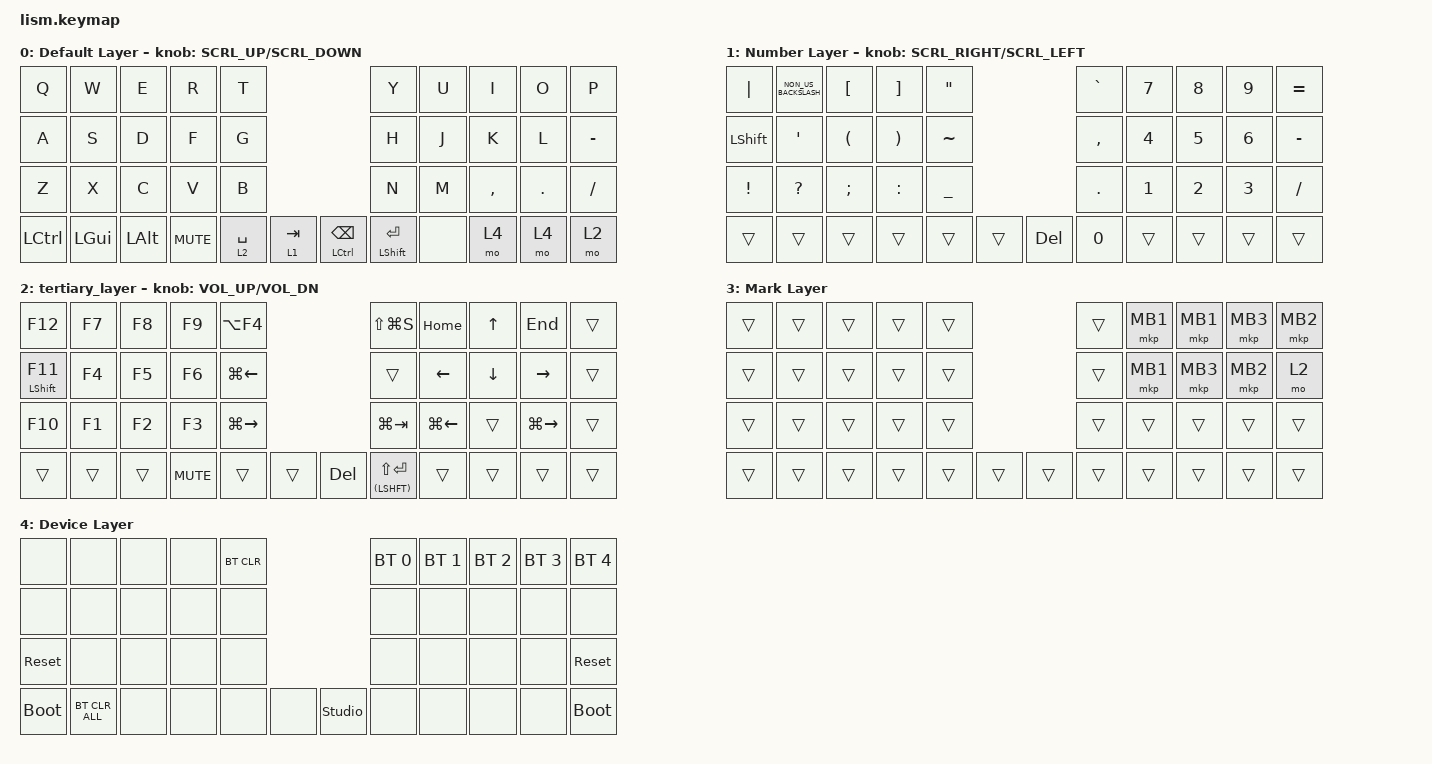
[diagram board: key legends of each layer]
#define ZMK_POINTING_DEFAULT_SCRL_VAL 200

#include <dt-bindings/zmk/mouse.h>
#include <behaviors.dtsi>
#include <dt-bindings/zmk/bt.h>
#include <dt-bindings/zmk/keys.h>
#include <dt-bindings/zmk/pointing.h>

&mt {
    tapping-term-ms = <170>;
    flavor = "balanced";
};

&lt { quick-tap-ms = <170>; };

/ {
    macros {
        emoji: emoji_macro {
            compatible = "zmk,behavior-macro";
            label = "EMOJI";
            #binding-cells = <0>;
            bindings =
                <&macro_press>,
                <&kp CAPSLOCK>,
                <&macro_tap>,
                <&kp E>,
                <&macro_release>,
                <&kp CAPSLOCK>;
        };
    };

    behaviors {
        encoder_msc: sensor_rotate_msc {
            compatible = "zmk,behavior-sensor-rotate-var";
            #sensor-binding-cells = <2>;
            bindings = <&msc>, <&msc>;

            tap-ms = <20>;
        };

        encoder_kp: sensor_rotate_kp {
            compatible = "zmk,behavior-sensor-rotate-var";
            #sensor-binding-cells = <2>;
            bindings = <&kp>, <&kp>;
        };
    };

    combos {
        compatible = "zmk,combos";

        esc {
            bindings = <&kp ESCAPE>;
            key-positions = <0 1>;
        };

        mb1 {
            bindings = <&mkp MB1>;
            key-positions = <6 7>;
        };

        mb2 {
            bindings = <&mkp MB2>;
            key-positions = <7 8>;
        };

        mb3 {
            bindings = <&mkp MB3>;
            key-positions = <6 7 8>;
        };

        mouse {
            bindings = <&tog 3>;
            key-positions = <5 6 7>;
        };

        lang1 {
            bindings = <&kp LANG1>;
            key-positions = <13 12>;
        };

        lang2 {
            bindings = <&kp LANG2>;
            key-positions = <16 17>;
        };
    };

    keymap {
        compatible = "zmk,keymap";

        default_layer {
            display-name = "Default Layer";
            bindings = <
&kp Q      &kp W     &kp E         &kp R       &kp T                                                 &kp Y             &kp U  &kp I      &kp O    &kp P
&kp A      &kp S     &kp D         &kp F       &kp G                                                 &kp H             &kp J  &kp K      &kp L    &kp MINUS
&kp Z      &kp X     &kp C         &kp V       &kp B                                                 &kp N             &kp M  &kp COMMA  &kp DOT  &kp SLASH
&kp LCTRL  &kp LGUI  &kp LEFT_ALT  &kp C_MUTE  &lt 2 SPACE  &lt 1 TAB    &mt LEFT_CONTROL BACKSPACE  &mt LSHIFT ENTER  &none  &mo 4      &mo 4    &mo 2
            >;

            sensor-bindings = <&encoder_msc SCRL_UP SCRL_DOWN>;
        };

        layer_1 {
            display-name = "Number Layer";
            bindings = <
&kp PIPE         &kp NON_US_BACKSLASH  &kp LEFT_BRACKET      &kp RIGHT_BRACKET      &kp DOUBLE_QUOTES                     &kp GRAVE     &kp NUMBER_7  &kp NUMBER_8  &kp NUMBER_9  &kp EQUAL
&kp LSHIFT       &kp SQT               &kp LEFT_PARENTHESIS  &kp RIGHT_PARENTHESIS  &kp TILDE                             &kp COMMA     &kp NUMBER_4  &kp NUMBER_5  &kp NUMBER_6  &kp MINUS
&kp EXCLAMATION  &kp QUESTION          &kp SEMICOLON         &kp COLON              &kp UNDERSCORE                        &kp PERIOD    &kp NUMBER_1  &kp NUMBER_2  &kp NUMBER_3  &kp SLASH
&trans           &trans                &trans                &trans                 &trans             &trans    &kp DEL  &kp NUMBER_0  &trans        &trans        &trans        &trans
            >;

            sensor-bindings = <&encoder_msc SCRL_RIGHT SCRL_LEFT>;
        };

        layer_2 {
            display-name = "tertiary_layer";
            bindings = <
&kp F12         &kp F7  &kp F8  &kp F9      &kp LA(F4)                           &kp LS(LG(S))          &kp HOME            &kp UP_ARROW    &kp END              &trans
&mt LSHIFT F11  &kp F4  &kp F5  &kp F6      &kp LG(LEFT)                         &trans                 &kp LEFT            &kp DOWN_ARROW  &kp RIGHT            &trans
&kp F10         &kp F1  &kp F2  &kp F3      &kp LG(RIGHT)                        &kp LG(TAB)            &kp LG(LEFT_ARROW)  &trans          &kp LG(RIGHT_ARROW)  &trans
&trans          &trans  &trans  &kp C_MUTE  &trans         &trans    &kp DELETE  &mt (LSHFT) LS(ENTER)  &trans              &trans          &trans               &trans
            >;

            sensor-bindings = <&encoder_kp C_VOL_UP C_VOL_DN>;
        };

        layer_3 {
            display-name = "Mark Layer";
            bindings = <
&trans  &trans  &trans  &trans  &trans                    &trans  &mkp MB1  &mkp MB1  &mkp MB3  &mkp MB2
&trans  &trans  &trans  &trans  &trans                    &trans  &mkp MB1  &mkp MB3  &mkp MB2  &mo 2
&trans  &trans  &trans  &trans  &trans                    &trans  &trans    &trans    &trans    &trans
&trans  &trans  &trans  &trans  &trans  &trans    &trans  &trans  &trans    &trans    &trans    &trans
            >;
        };

        layer_4 {
            display-name = "Device Layer";
            bindings = <
&none        &none           &none  &none  &bt BT_CLR                           &bt BT_SEL 0  &bt BT_SEL 1  &bt BT_SEL 2  &bt BT_SEL 3  &bt BT_SEL 4
&none        &none           &none  &none  &none                                &none         &none         &none         &none         &none
&sys_reset   &none           &none  &none  &none                                &none         &none         &none         &none         &sys_reset
&bootloader  &bt BT_CLR_ALL  &none  &none  &none       &none    &studio_unlock  &none         &none         &none         &none         &bootloader
            >;
        };

        layer_5 {
            status = "reserved";
            display-name = "Brank Layer";
            bindings = <
&trans  &trans  &trans  &trans  &trans                           &none      &mkp MB1  &mkp MB1  &mkp MB3  &mkp MB2
&trans  &trans  &trans  &trans  &trans                           &none      &mkp MB1  &mkp MB3  &mkp MB2  &mo 2
&trans  &trans  &trans  &trans  &trans                           &none      &none     &none     &none     &mo 2
&trans  &trans  &trans  &trans  &trans  &trans    &kp BACKSPACE  &kp ENTER  &none     &none     &none     &mo 2
            >;
        };

        layer_6 {
            status = "reserved";
            display-name = "Brank Layer";
            bindings = <
&trans  &trans  &trans  &trans  &trans                    &trans  &trans  &trans  &trans  &trans
&trans  &trans  &trans  &trans  &trans                    &trans  &trans  &trans  &trans  &trans
&trans  &trans  &trans  &trans  &trans                    &trans  &trans  &trans  &trans  &trans
&trans  &trans  &trans  &trans  &trans  &trans    &trans  &trans  &trans  &trans  &trans  &trans
            >;
        };

        layer_7 {
            status = "reserved";
            display-name = "Brank Layer";
            bindings = <
&trans  &trans  &trans  &trans  &trans                    &trans  &trans  &trans  &trans  &trans
&trans  &trans  &trans  &trans  &trans                    &trans  &trans  &trans  &trans  &trans
&trans  &trans  &trans  &trans  &trans                    &trans  &trans  &trans  &trans  &trans
&trans  &trans  &trans  &trans  &trans  &trans    &trans  &trans  &trans  &trans  &trans  &trans
            >;
        };
    };
};
